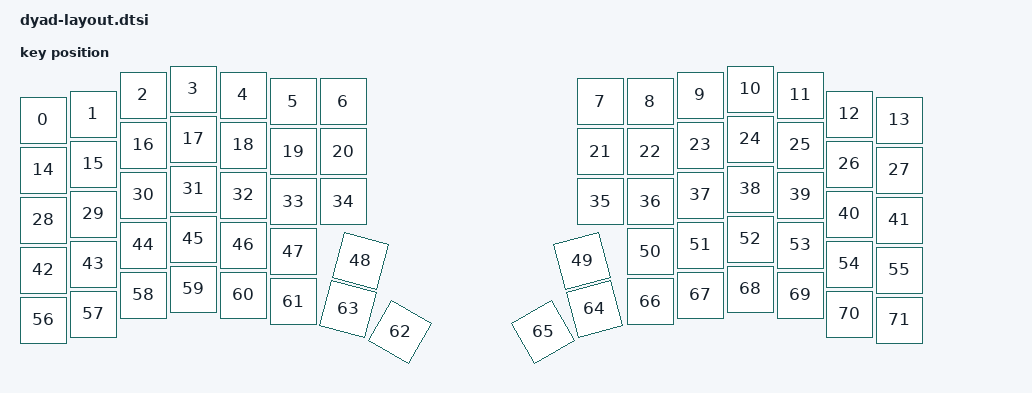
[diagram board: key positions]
#include <physical_layouts.dtsi>

/ {
    dyad_physical_layout: dyad_physical_layout {
        compatible = "zmk,physical-layout";
        display-name = "Dyad";
        transform = <&default_transform>;
        kscan = <&kscan0>;

        keys  //                     w   h    x    y     rot    rx    ry
            = <&key_physical_attrs 100 100    0   62       0     0     0>
            , <&key_physical_attrs 100 100  100   50       0     0     0>
            , <&key_physical_attrs 100 100  200   12       0     0     0>
            , <&key_physical_attrs 100 100  300    0       0     0     0>
            , <&key_physical_attrs 100 100  400   12       0     0     0>
            , <&key_physical_attrs 100 100  500   25       0     0     0>
            , <&key_physical_attrs 100 100  600   25       0     0     0>
            , <&key_physical_attrs 100 100 1114   25       0     0     0>
            , <&key_physical_attrs 100 100 1214   25       0     0     0>
            , <&key_physical_attrs 100 100 1314   12       0     0     0>
            , <&key_physical_attrs 100 100 1414    0       0     0     0>
            , <&key_physical_attrs 100 100 1514   12       0     0     0>
            , <&key_physical_attrs 100 100 1613   50       0     0     0>
            , <&key_physical_attrs 100 100 1713   62       0     0     0>
            , <&key_physical_attrs 100 100    0  162       0     0     0>
            , <&key_physical_attrs 100 100  100  150       0     0     0>
            , <&key_physical_attrs 100 100  200  112       0     0     0>
            , <&key_physical_attrs 100 100  300  100       0     0     0>
            , <&key_physical_attrs 100 100  400  112       0     0     0>
            , <&key_physical_attrs 100 100  500  125       0     0     0>
            , <&key_physical_attrs 100 100  600  125       0     0     0>
            , <&key_physical_attrs 100 100 1114  125       0     0     0>
            , <&key_physical_attrs 100 100 1214  125       0     0     0>
            , <&key_physical_attrs 100 100 1314  112       0     0     0>
            , <&key_physical_attrs 100 100 1414  100       0     0     0>
            , <&key_physical_attrs 100 100 1514  112       0     0     0>
            , <&key_physical_attrs 100 100 1613  150       0     0     0>
            , <&key_physical_attrs 100 100 1713  162       0     0     0>
            , <&key_physical_attrs 100 100    0  262       0     0     0>
            , <&key_physical_attrs 100 100  100  250       0     0     0>
            , <&key_physical_attrs 100 100  200  212       0     0     0>
            , <&key_physical_attrs 100 100  300  200       0     0     0>
            , <&key_physical_attrs 100 100  400  212       0     0     0>
            , <&key_physical_attrs 100 100  500  225       0     0     0>
            , <&key_physical_attrs 100 100  600  225       0     0     0>
            , <&key_physical_attrs 100 100 1114  225       0     0     0>
            , <&key_physical_attrs 100 100 1214  225       0     0     0>
            , <&key_physical_attrs 100 100 1314  212       0     0     0>
            , <&key_physical_attrs 100 100 1414  200       0     0     0>
            , <&key_physical_attrs 100 100 1514  212       0     0     0>
            , <&key_physical_attrs 100 100 1613  250       0     0     0>
            , <&key_physical_attrs 100 100 1713  262       0     0     0>
            , <&key_physical_attrs 100 100    0  362       0     0     0>
            , <&key_physical_attrs 100 100  100  350       0     0     0>
            , <&key_physical_attrs 100 100  200  312       0     0     0>
            , <&key_physical_attrs 100 100  300  300       0     0     0>
            , <&key_physical_attrs 100 100  400  312       0     0     0>
            , <&key_physical_attrs 100 100  500  325       0     0     0>
            , <&key_physical_attrs 100 100  635  344    1500   685   394>
            , <&key_physical_attrs 100 100 1078  344 (-1500)  1128   394>
            , <&key_physical_attrs 100 100 1214  325       0     0     0>
            , <&key_physical_attrs 100 100 1314  312       0     0     0>
            , <&key_physical_attrs 100 100 1414  300       0     0     0>
            , <&key_physical_attrs 100 100 1514  312       0     0     0>
            , <&key_physical_attrs 100 100 1613  350       0     0     0>
            , <&key_physical_attrs 100 100 1713  362       0     0     0>
            , <&key_physical_attrs 100 100    0  462       0     0     0>
            , <&key_physical_attrs 100 100  100  450       0     0     0>
            , <&key_physical_attrs 100 100  200  412       0     0     0>
            , <&key_physical_attrs 100 100  300  400       0     0     0>
            , <&key_physical_attrs 100 100  400  412       0     0     0>
            , <&key_physical_attrs 100 100  500  425       0     0     0>
            , <&key_physical_attrs 100 100  714  486    3000   764   536>
            , <&key_physical_attrs 100 100  610  440    1500   660   490>
            , <&key_physical_attrs 100 100 1103  440 (-1500)  1153   490>
            , <&key_physical_attrs 100 100 1000  486 (-3000)  1050   536>
            , <&key_physical_attrs 100 100 1214  425       0     0     0>
            , <&key_physical_attrs 100 100 1314  412       0     0     0>
            , <&key_physical_attrs 100 100 1414  400       0     0     0>
            , <&key_physical_attrs 100 100 1514  412       0     0     0>
            , <&key_physical_attrs 100 100 1613  450       0     0     0>
            , <&key_physical_attrs 100 100 1713  462       0     0     0>
            ;
    };
};
